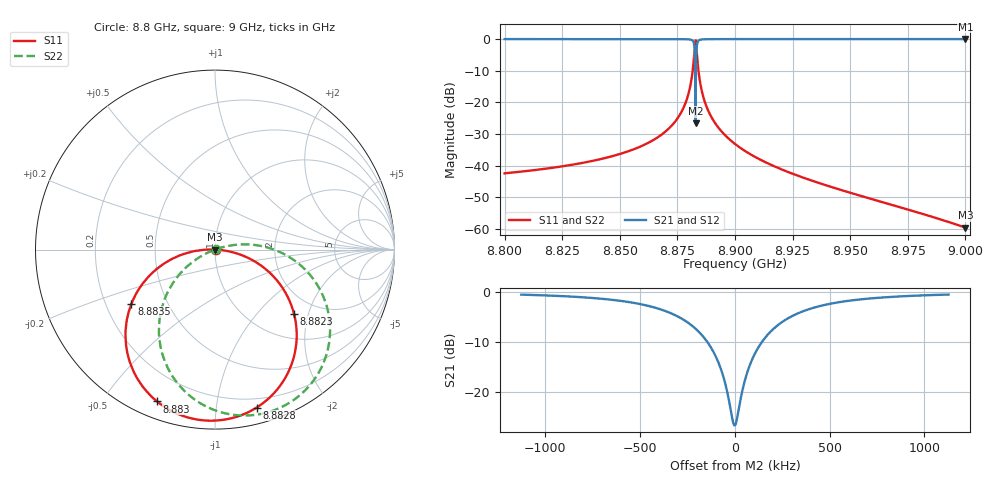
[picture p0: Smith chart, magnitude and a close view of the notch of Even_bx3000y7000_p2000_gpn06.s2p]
! Sonnet Data File
! From: emgraph Version : 16.52
! From Project: Resonator2_cp_cp
! Data is De-embedded
! Data File Written: 10/06/2017 09:20:30
!< HDATE 10/05/2017 21:11:40
!< MDATE 10/05/2017 21:11:40
!< PARAMS
!< gap = 6.0
!< Length = 400.0
!< Pwid1 = 2000.0
!< Pwid2 = 2000.0
!< END PARAMS
# GHZ S MA R 51.80000
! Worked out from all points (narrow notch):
!   1595 points, 8.8 GHz to 9 GHz, reference 51.8 ohm
!   highest |S21| = 0.00 dB at 9 GHz (marker M1); lowest = -26.7 dB at 8.8829 GHz (marker M2)
!   notch at M2: 26.7 dB deep, 189 kHz wide at half that depth
!   lowest |S11| = -59.6 dB at 9 GHz (marker M3), VSWR 1.00, Z = 51.7 + j0.0151 ohm
!   |S11| at or under -10 dB: start of sweep to 8.8816 GHz; 8.8841 GHz to end of sweep
!   |S22| runs from -59.6 to -0.4 dB; largest |S21 - S12| = 0
!   S11 on the Smith chart (normalised r, x): 8.8 GHz: 1.02, -0.00; 8.8823 GHz: 1.53, -1.62; 8.8828 GHz: 0.13, -1.29; 8.883 GHz: 0.07, -0.69; 8.8835 GHz: 0.31, -0.27; 9 GHz: 1.00, +0.00
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8.8  0.007544 -1.6  1 -80.9  1 -80.9  0.007545 19.8
!< P1 F=8.8 Eeff=(6.44679989 -2.9721e-5) Z0=(51.7992624 1.19519e-4) R=0.0 C=0.0
!< P2 F=8.8 Eeff=(6.44679989 -2.9721e-5) Z0=(51.7992624 1.19519e-4) R=0.0 C=0.0
8.8334  0.01097 -2.3  0.9999 -81.4  0.9999 -81.4  0.01097 19.5
8.8668  0.02854 -4.0  0.9996 -82.7  0.9996 -82.7  0.02854 18.4
8.877784  0.08418 -7.6  0.9961 -86.0  0.9961 -86.0  0.08418 15.1
8.8812  0.2414 -17.2  0.9676 -95.2  0.9676 -95.2  0.2414 5.5
8.882303  0.5683 -39.2  0.8037 -115.8  0.8037 -115.8  0.5683 -16.4
8.882593  0.7843 -57.9  0.5704 -132.7  0.5704 -132.7  0.7843 -35.2
8.88276  0.9104 -75.3  0.3014 -145.5  0.3014 -145.5  0.9104 -52.5
8.882831  0.9429 -84.0  0.1571 -145.7  0.1571 -145.7  0.9429 -61.2
8.882898  0.9537 -92.6  0.04631 -80.8  0.04631 -80.8  0.9537 -69.9
8.882967  0.9421 -101.5  0.1615 -16.6  0.1615 -16.6  0.9421 -78.8
8.883043  0.9056 -110.9  0.3164 -17.5  0.3164 -17.5  0.9056 -88.1
8.883203  0.7831 -127.4  0.5718 -29.9  0.5718 -29.9  0.7831 -104.6
8.883509  0.5556 -147.0  0.8131 -47.5  0.8131 -47.5  0.5556 -124.2
8.884  0.3513 -161.0  0.9298 -60.7  0.9298 -60.7  0.3513 -138.2
8.884617  0.2339 -168.4  0.9695 -67.7  0.9695 -67.7  0.2339 -145.6
8.887805  0.08263 -177.7  0.9962 -76.5  0.9962 -76.5  0.08263 -154.9
8.893  0.03896 179.5  0.9992 -79.1  0.9992 -79.1  0.03896 -157.5
8.9  0.022 178.3  0.9997 -80.1  0.9997 -80.1  0.022 -158.5
8.9334  0.005782 176.4  1 -81.4  1 -81.4  0.005781 -159.2
8.9668  0.002469 174.9  1 -81.9  1 -81.9  0.002468 -158.6
9  0.001045 172.0  1 -82.2  1 -82.2  0.001044 -156.6
